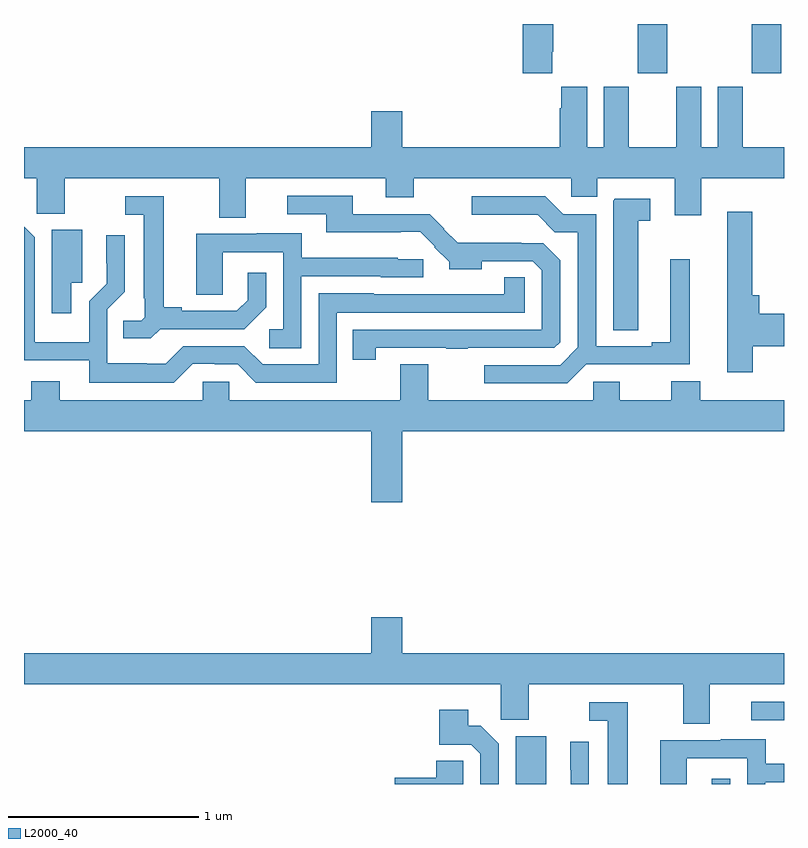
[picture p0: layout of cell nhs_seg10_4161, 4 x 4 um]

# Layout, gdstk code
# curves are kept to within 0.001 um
import gdstk
lib = gdstk.Library(unit=1e-6, precision=1e-09)
def R(c, l, rs):  # rectangles x0, y0, x1, y1
    for r in rs: c.add(gdstk.rectangle(r[:2], r[2:], *l))
def P(c, l, *ps):  # polygons
    for p in ps: c.add(gdstk.Polygon(p, *l))
L2000_40 = (2000, 40)

nhs_seg10_4161 = lib.new_cell('nhs_seg10_4161')
R(nhs_seg10_4161, L2000_40, [(345.587,1258.5,345.748,1258.752), (346.619,1258.5,346.716,1258.528), (346.827,1258.836,347,1258.932), (346.231,1262.241,346.386,1262.5), (346.831,1262.241,346.986,1262.5)])
P(nhs_seg10_4161, L2000_40, [(345.781,1262.353),(345.786,1262.353),(345.786,1262.5),(345.626,1262.5),(345.626,1262.241),(345.781,1262.241)],
  [(344.167,1261.688),(344.903,1261.688),(344.903,1261.589),(345.051,1261.589),(345.051,1261.688),(345.879,1261.688),(345.879,1261.59),(346.018,1261.59),(346.018,1261.688),(346.424,1261.688),(346.424,1261.494),(346.564,1261.494),(346.564,1261.688),(347,1261.688),(347,1261.852),(346.783,1261.852),(346.783,1262.17),(346.652,1262.17),(346.652,1261.852),(346.564,1261.852),(346.564,1262.17),(346.433,1262.17),(346.433,1261.852),(346.183,1261.852),(346.183,1262.17),(346.052,1262.17),(346.052,1261.852),(345.964,1261.852),(345.964,1262.17),(345.827,1262.17),(345.827,1262.057),(345.821,1262.057),(345.821,1261.852),(344.992,1261.852),(344.992,1262.041),(344.828,1262.041),(344.828,1261.852),(343,1261.852),(343,1261.688),(343.068,1261.688),(343.068,1261.501),(343.215,1261.501),(343.215,1261.688),(344.027,1261.688),(344.027,1261.48),(344.167,1261.48)],
  [(344.85,1260.795),(345.223,1260.795),(345.223,1260.79),(345.335,1260.79),(345.335,1260.795),(345.792,1260.795),(345.822,1260.825),(345.822,1261.257),(345.733,1261.346),(345.617,1261.346),(345.617,1261.348),(345.283,1261.348),(345.209,1261.421),(345.211,1261.423),(345.135,1261.5),(344.731,1261.5),(344.731,1261.596),(344.385,1261.596),(344.385,1261.5),(344.591,1261.5),(344.591,1261.403),(344.984,1261.403),(344.984,1261.406),(345.086,1261.406),(345.162,1261.329),(345.159,1261.326),(345.238,1261.248),(345.238,1261.208),(345.409,1261.208),(345.409,1261.251),(345.678,1261.251),(345.726,1261.203),(345.726,1260.891),(344.731,1260.891),(344.731,1260.732),(344.85,1260.732)],
  [(345.958,1260.708),(346.504,1260.708),(346.504,1261.261),(346.4,1261.261),(346.4,1260.824),(346.304,1260.824),(346.304,1260.804),(346.011,1260.804),(346.011,1261.5),(345.837,1261.5),(345.744,1261.593),(345.357,1261.593),(345.357,1261.496),(345.703,1261.496),(345.794,1261.405),(345.915,1261.405),(345.915,1260.798),(345.822,1260.705),(345.423,1260.705),(345.423,1260.609),(345.859,1260.609)],
  [(343.716,1260.894),(344.158,1260.894),(344.274,1261.01),(344.274,1261.192),(344.177,1261.192),(344.177,1261.047),(344.12,1260.99),(343.831,1260.99),(343.831,1261.01),(343.735,1261.01),(343.735,1261.593),(343.533,1261.593),(343.533,1261.497),(343.631,1261.497),(343.631,1261.057),(343.635,1261.057),(343.635,1260.957),(343.617,1260.939),(343.522,1260.939),(343.522,1260.847),(343.668,1260.847)],
  [(346.234,1261.465),(346.297,1261.465),(346.297,1261.581),(346.11,1261.581),(346.1,1261.571),(346.1,1260.889),(346.234,1260.889)],
  [(346.835,1260.803),(347,1260.803),(347,1260.974),(346.871,1260.974),(346.871,1261.072),(346.832,1261.072),(346.832,1261.513),(346.7,1261.513),(346.7,1260.666),(346.835,1260.666)],
  [(343.887,1260.711),(344.004,1260.711),(344.004,1260.708),(344.124,1260.708),(344.22,1260.612),(344.646,1260.612),(344.646,1260.981),(345.636,1260.981),(345.636,1261.166),(345.528,1261.166),(345.528,1261.078),(344.841,1261.077),(344.841,1261.084),(344.55,1261.084),(344.55,1260.708),(344.256,1260.708),(344.16,1260.804),(343.839,1260.804),(343.746,1260.711),(343.646,1260.711),(343.646,1260.715),(343.437,1260.715),(343.437,1260.999),(343.53,1261.092),(343.53,1261.387),(343.434,1261.387),(343.434,1261.24),(343.436,1261.24),(343.436,1261.134),(343.344,1261.042),(343.344,1260.826),(343.056,1260.826),(343.056,1261.377),(343,1261.433),(343,1260.729),(343.343,1260.729),(343.343,1260.611),(343.787,1260.611)],
  [(343.249,1261.137),(343.306,1261.137),(343.306,1261.416),(343.145,1261.416),(343.145,1260.978),(343.249,1260.978)],
  [(344.46,1261.173),(344.877,1261.173),(344.877,1261.167),(345.102,1261.167),(345.102,1261.263),(344.967,1261.263),(344.967,1261.27),(344.461,1261.27),(344.461,1261.399),(344.225,1261.399),(344.225,1261.395),(343.907,1261.395),(343.907,1261.075),(344.046,1261.075),(344.046,1261.299),(344.364,1261.299),(344.364,1260.894),(344.292,1260.894),(344.292,1260.793),(344.46,1260.793)],
  [(344.992,1260.356),(347,1260.356),(347,1260.52),(346.559,1260.52),(346.559,1260.619),(346.406,1260.619),(346.406,1260.52),(346.135,1260.52),(346.135,1260.618),(345.996,1260.618),(345.996,1260.52),(345.127,1260.52),(345.127,1260.71),(344.98,1260.71),(344.98,1260.52),(344.079,1260.52),(344.079,1260.618),(343.941,1260.618),(343.941,1260.52),(343.189,1260.52),(343.189,1260.619),(343.037,1260.619),(343.037,1260.52),(343,1260.52),(343,1260.356),(344.828,1260.356),(344.828,1259.982),(344.992,1259.982)],
  [(346.609,1259.024),(347,1259.024),(347,1259.188),(344.992,1259.188),(344.992,1259.377),(344.828,1259.377),(344.828,1259.188),(343,1259.188),(343,1259.024),(345.51,1259.024),(345.51,1258.837),(345.657,1258.837),(345.657,1259.024),(346.469,1259.024),(346.469,1258.816),(346.609,1258.816)],
  [(346.177,1258.929),(345.975,1258.929),(345.975,1258.833),(346.073,1258.833),(346.073,1258.5),(346.177,1258.5)],
  [(345.498,1258.713),(345.405,1258.806),(345.337,1258.806),(345.337,1258.891),(345.185,1258.891),(345.185,1258.707),(345.354,1258.707),(345.402,1258.659),(345.402,1258.5),(345.498,1258.5)],
  [(346.488,1258.635),(346.806,1258.635),(346.806,1258.5),(346.902,1258.5),(346.902,1258.509),(347,1258.509),(347,1258.606),(346.903,1258.606),(346.903,1258.735),(346.667,1258.735),(346.667,1258.731),(346.349,1258.731),(346.349,1258.5),(346.488,1258.5)],
  [(345.972,1258.723),(345.876,1258.723),(345.876,1258.576),(345.878,1258.576),(345.878,1258.5),(345.972,1258.5)],
  [(345.313,1258.514),(345.312,1258.514),(345.312,1258.622),(345.17,1258.622),(345.17,1258.532),(344.952,1258.532),(344.952,1258.5),(345.313,1258.5)])

lib.write_gds('nhs_seg10_4161.gds')
